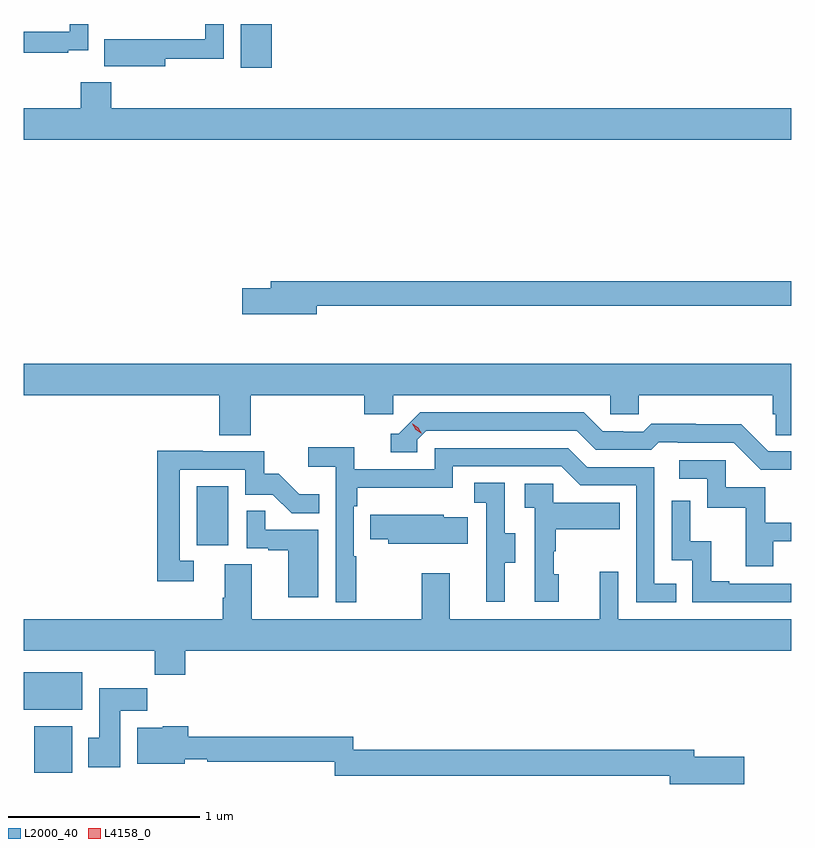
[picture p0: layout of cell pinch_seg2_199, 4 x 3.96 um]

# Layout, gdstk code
import gdstk
lib = gdstk.Library(unit=1e-6, precision=1e-09)
def R(c, l, rs):  # rectangles x0, y0, x1, y1
    for r in rs: c.add(gdstk.rectangle(r[:2], r[2:], *l))
def P(c, l, *ps):  # polygons
    for p in ps: c.add(gdstk.Polygon(p, *l))
L2000_40 = (2000, 40)
L4158_0 = (4158, 0)

pinch_seg2_199 = lib.new_cell('pinch_seg2_199')
R(pinch_seg2_199, L2000_40, [(961.454,658.988,961.651,659.23), (961.399,659.318,961.705,659.512), (962.3,660.174,962.464,660.481), (962.531,662.664,962.692,662.891)])
P(pinch_seg2_199, L2000_40, [(962.137,662.71),(962.442,662.71),(962.442,662.891),(962.346,662.891),(962.346,662.811),(962.033,662.811),(962.033,662.812),(961.819,662.812),(961.819,662.672),(962.137,662.672)],
  [(961.631,662.753),(961.734,662.753),(961.734,662.891),(961.638,662.891),(961.638,662.85),(961.399,662.85),(961.399,662.742),(961.631,662.742)],
  [(965.399,662.452),(961.856,662.452),(961.856,662.587),(961.696,662.587),(961.696,662.452),(961.399,662.452),(961.399,662.288),(965.399,662.288)],
  [(962.926,661.422),(965.399,661.422),(965.399,661.55),(962.687,661.55),(962.687,661.514),(962.538,661.514),(962.538,661.379),(962.926,661.379)],
  [(962.582,660.956),(963.173,660.956),(963.173,660.858),(963.324,660.858),(963.324,660.956),(964.455,660.956),(964.455,660.858),(964.605,660.858),(964.605,660.956),(965.303,660.956),(965.303,660.858),(965.317,660.858),(965.317,660.748),(965.399,660.748),(965.399,661.12),(961.399,661.12),(961.399,660.956),(962.417,660.956),(962.417,660.748),(962.582,660.748)],
  [(965.399,660.663),(965.28,660.663),(965.138,660.805),(964.902,660.805),(964.902,660.808),(964.669,660.808),(964.627,660.765),(964.524,660.765),(964.524,660.768),(964.417,660.768),(964.318,660.867),(963.465,660.867),(963.354,660.756),(963.311,660.756),(963.311,660.66),(963.45,660.66),(963.45,660.723),(963.498,660.771),(964.281,660.771),(964.38,660.672),(964.669,660.672),(964.708,660.711),(964.807,660.711),(964.807,660.708),(965.1,660.708),(965.241,660.567),(965.399,660.567)],
  [(963.133,660.116),(963.12,660.116),(963.12,660.377),(963.137,660.377),(963.137,660.473),(963.636,660.473),(963.636,660.585),(964.2,660.585),(964.299,660.486),(964.59,660.486),(964.59,659.877),(964.799,659.877),(964.799,659.973),(964.686,659.973),(964.686,660.582),(964.336,660.582),(964.237,660.681),(963.54,660.681),(963.54,660.57),(963.122,660.57),(963.122,660.686),(962.883,660.686),(962.883,660.584),(963.024,660.584),(963.024,659.877),(963.133,659.877)],
  [(962.284,660.093),(962.211,660.093),(962.211,660.567),(962.553,660.567),(962.553,660.438),(962.697,660.438),(962.795,660.34),(962.939,660.34),(962.939,660.439),(962.835,660.439),(962.728,660.546),(962.652,660.546),(962.652,660.663),(962.333,660.663),(962.333,660.668),(962.095,660.668),(962.095,659.988),(962.284,659.988)],
  [(965.305,660.195),(965.399,660.195),(965.399,660.291),(965.263,660.291),(965.263,660.477),(965.058,660.477),(965.058,660.618),(964.815,660.618),(964.815,660.522),(964.962,660.522),(964.962,660.369),(965.161,660.369),(965.161,660.066),(965.305,660.066)],
  [(963.907,660.082),(963.961,660.082),(963.961,660.237),(963.906,660.237),(963.906,660.5),(963.747,660.5),(963.747,660.397),(963.81,660.397),(963.81,660.093),(963.809,660.093),(963.809,659.88),(963.907,659.88)],
  [(964.186,660.024),(964.161,660.024),(964.161,660.143),(964.171,660.143),(964.171,660.257),(964.505,660.257),(964.505,660.397),(964.158,660.397),(964.158,660.495),(964.011,660.495),(964.011,660.371),(964.062,660.371),(964.062,659.88),(964.186,659.88)],
  [(965.399,659.973),(965.077,659.973),(965.077,659.986),(964.982,659.986),(964.982,660.194),(964.872,660.194),(964.872,660.406),(964.776,660.406),(964.776,660.096),(964.884,660.096),(964.884,659.877),(965.399,659.877)],
  [(962.935,660.255),(962.657,660.255),(962.657,660.353),(962.562,660.353),(962.562,660.159),(962.673,660.159),(962.673,660.147),(962.777,660.147),(962.777,659.904),(962.935,659.904)],
  [(963.713,660.319),(963.588,660.319),(963.588,660.334),(963.316,660.334),(963.316,660.333),(963.205,660.333),(963.205,660.205),(963.299,660.205),(963.299,660.182),(963.713,660.182)],
  [(962.24,659.624),(965.399,659.624),(965.399,659.788),(964.497,659.788),(964.497,660.037),(964.4,660.037),(964.4,659.788),(963.619,659.788),(963.619,660.028),(963.472,660.028),(963.472,659.788),(962.587,659.788),(962.587,660.074),(962.447,660.074),(962.447,659.9),(962.435,659.9),(962.435,659.788),(961.399,659.788),(961.399,659.624),(962.083,659.624),(962.083,659.5),(962.24,659.5)],
  [(961.903,659.312),(962.042,659.312),(962.042,659.43),(961.793,659.43),(961.793,659.172),(961.736,659.172),(961.736,659.016),(961.903,659.016)],
  [(965.155,659.072),(964.894,659.072),(964.894,659.108),(963.117,659.108),(963.117,659.176),(962.256,659.176),(962.256,659.23),(962.124,659.23),(962.124,659.224),(961.991,659.224),(961.991,659.036),(962.238,659.036),(962.238,659.058),(962.356,659.058),(962.356,659.047),(963.021,659.047),(963.021,658.972),(964.766,658.972),(964.766,658.93),(965.155,658.93)])
P(pinch_seg2_199, L4158_0, [(963.472,660.755),(963.442,660.775),(963.425,660.808),(963.425,660.808),(963.426,660.808),(963.456,660.788),(963.473,660.756),(963.473,660.755)])

lib.write_gds('pinch_seg2_199.gds')
